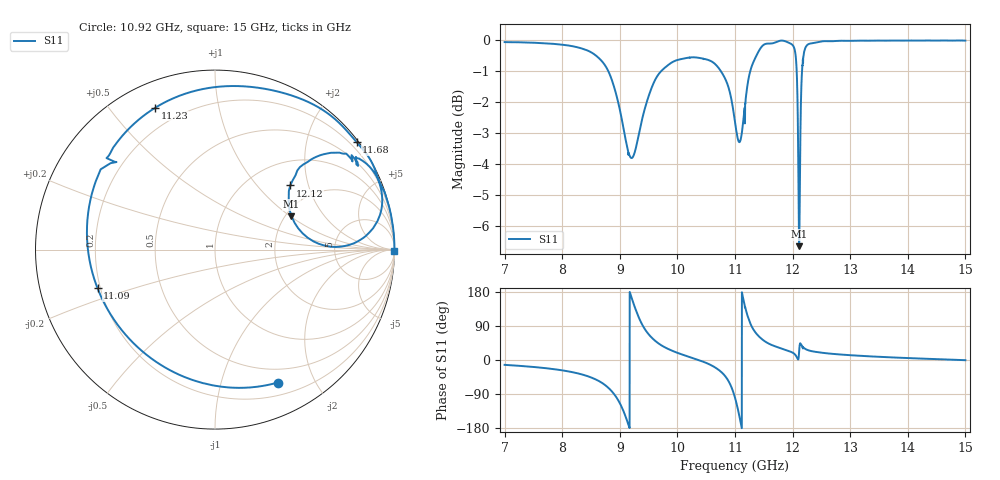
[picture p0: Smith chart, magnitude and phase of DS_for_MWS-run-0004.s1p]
! TOUCHSTONE file generated by CST DESIGN STUDIO
! Date and time: Mon Feb 10 16:52:19 2025
! Project name: C:\Work\MatlabApps\UnitCellType2OptimizationMatlab\CST\unitcell.cst
! Tree item: Tasks\Sweep1\SPara1\S-Parameters
! Header version: 2024
! Port assignment regex: !\s*Touchstone port\s*([0-9]+)\s*=\s*(CST MWS port|CST DES external port|CST DES block port)\s*(.+)\s* \(\"(.*)\"\)(\s*mode\s*([0-9]+))?.*
! Touchstone port assignment:
! Touchstone port 1 = CST DES external port 1 ("")
# GHz S MA R 50
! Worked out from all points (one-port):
!   4001 points, 7 GHz to 15 GHz, reference 50 ohm
!   lowest |S11| = -6.7 dB at 12.11 GHz (marker M1), VSWR 2.74, Z = 108 + j51 ohm
!   |S11| at or under -10 dB: nowhere
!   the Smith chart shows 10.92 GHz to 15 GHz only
!   S11 on the Smith chart (normalised r, x): 10.92 GHz: 0.34, -1.52; 11.09 GHz: 0.19, -0.16; 11.23 GHz: 0.11, +0.66; 11.68 GHz: 0.05, +2.97; 12.12 GHz: 1.50, +1.54; 15 GHz: open
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7  0.994 -12.8
8  0.9843 -27.3
8.626  0.9384 -54.7
8.856  0.8663 -81.8
9  0.7732 -113.8
9.182  0.6478 174.9
9.29  0.677 127.2
9.386  0.7449 94.2
9.644  0.8737 46.9
10  0.9298 18.9
10.632  0.9197 -17.6
10.804  0.8764 -38.1
10.918  0.8189 -64.8
11  0.7382 -99.3
11.094  0.689 -161.7
11.154  0.7574 153.7
11.226  0.8579 112.7
11.41  0.9602 63.0
11.676  0.9908 37.3
12  0.983 19.5
12.074  0.8789 7.1
12.114  0.4647 23.6
12.124  0.5514 40.5
12.17  0.9119 33.6
12.282  0.987 25.2
13  0.9986 12.6
14  0.9998 5.1
15  0.9994 -0.5
